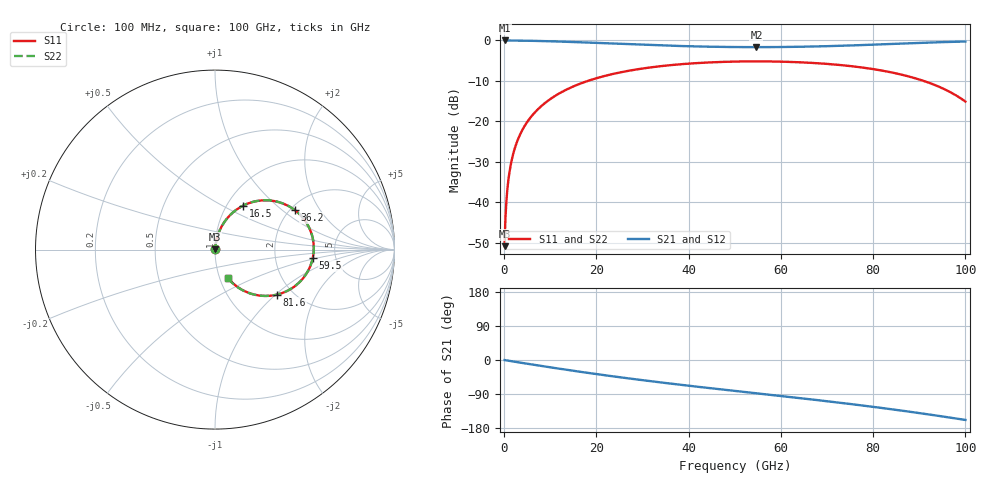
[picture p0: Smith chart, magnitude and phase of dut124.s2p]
! Touchstone file exported from HFSS 2026.1.0
!  File:  C:/ffzhzh/LocalFiles/Ansys_Project_Files/temp_train_RDL_124_1783499484_31944.aedt
!  Generated:  04:32:40 PM Jul  8, 2026
!  Design:  RDL
!  Project:  temp_train_RDL_124_1783499484_31944
! Variables:
!  h_bsmrdl = 2um
!  h_ox = 20um
!  h_rdl = 5um
!  h_sub = 80um
!  h_tmrdl = 4.79um
!  h_tsv = 80um
!  h_via = 3um
!  l_bsmrdl = 300um
!  l_sub = 932.97um
!  l_tmrdl = 532.97um
!  m_sub = 200um
!  pitch = 53.28um
!  r_tsv = 6um
!  s_tmrdl = 10um
!  w_bsmrdl = 18um
!  w_sub = 500um
!  w_tmrdl = 23.47um
!  x_tsv_center1 = 544.705um
!  x_tsv_center2 = 862.705um
!  x_tsv_center3 = 1419.145um
!  x_tsv_center4 = 1737.145um
!  x_tsv_center5 = 2293.585um
!  x_tsv_center6 = 2611.585um
# GHz S MA R 50.000000
! Terminal data exported
! Port[1] = TM_RDL1_1_T1
! Port[2] = TM_RDL1_1_T2
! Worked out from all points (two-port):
!   1000 points, 100 MHz to 100 GHz, reference 50 ohm
!   highest |S21| = -0.02 dB at 100 MHz (marker M1); lowest = -1.7 dB at 54.7 GHz (marker M2)
!   |S21| within 3 dB of the highest: start of sweep to end of sweep
!   lowest |S11| = -50.9 dB at 100 MHz (marker M3), VSWR 1.01, Z = 50.2 + j0.219 ohm
!   |S11| at or under -10 dB: start of sweep to 18.19 GHz; 90.92 GHz to end of sweep
!   |S22| runs from -50.9 to -5.2 dB; largest |S21 - S12| = 1.8e-14
!   S11 on the Smith chart (normalised r, x): 100 MHz: 1.00, +0.00; 16.5 GHz: 1.19, +0.64; 36.2 GHz: 2.10, +1.23; 59.5 GHz: 3.35, -0.44; 81.6 GHz: 1.66, -1.02; 100 GHz: 1.10, -0.36
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0.1  0.002867 49.6  0.9981 -0.2  0.9981 -0.2  0.002867 49.6
! Gamma 0 0 0 0
! Port Impedance 50 0 50 0
0.8  0.01648 80.3  0.9975 -1.6  0.9975 -1.6  0.01648 80.3
1.1  0.02244 81.6  0.9973 -2.2  0.9973 -2.2  0.02244 81.6
1.4  0.02841 82.0  0.9971 -2.8  0.9971 -2.8  0.02841 82.0
2.4  0.0482 81.6  0.9958 -4.8  0.9958 -4.8  0.0482 81.6
3.8  0.07539 79.5  0.9932 -7.5  0.9932 -7.5  0.07539 79.5
5.9  0.115 75.8  0.9882 -11.6  0.9882 -11.6  0.115 75.9
8.7  0.1656 70.9  0.9798 -16.9  0.9798 -16.9  0.1656 70.9
12.2  0.2253 64.7  0.9668 -23.4  0.9668 -23.4  0.2253 64.7
16.5  0.2922 57.2  0.9479 -31.1  0.9479 -31.1  0.2922 57.3
16.8  0.2965 56.7  0.9465 -31.6  0.9465 -31.6  0.2965 56.8
24.7  0.3973 43.7  0.9083 -44.9  0.9083 -44.9  0.3973 43.8
33.4  0.4765 30.5  0.8695 -58.4  0.8695 -58.4  0.4765 30.6
36.2  0.4953 26.5  0.859 -62.5  0.859 -62.5  0.4954 26.6
50.1  0.5473 7.5  0.8273 -81.7  0.8273 -81.7  0.5473 7.7
54.7  0.5505 1.5  0.8252 -87.9  0.8252 -87.9  0.5506 1.6
59.5  0.5468 -4.9  0.8276 -94.3  0.8276 -94.3  0.5469 -4.7
66.7  0.5273 -14.5  0.8397 -104.1  0.8397 -104.1  0.5273 -14.4
81.6  0.4266 -36.0  0.8925 -126.2  0.8925 -126.2  0.4267 -36.0
83.4  0.4083 -38.8  0.9006 -129.0  0.9006 -129.0  0.4083 -38.8
92.7  0.291 -53.7  0.9427 -144.8  0.9427 -144.8  0.291 -53.9
100  0.1755 -65.4  0.9683 -158.2  0.9683 -158.2  0.1754 -66.0
